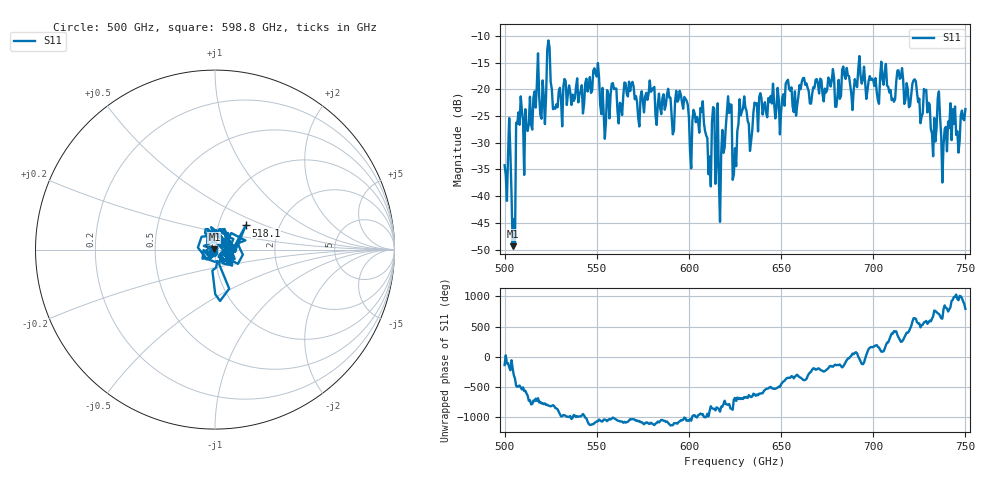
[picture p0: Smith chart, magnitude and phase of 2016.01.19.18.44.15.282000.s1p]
!Created with skrf (http://scikit-rf.org).
# GHz S RI R 50.0
!freq ReS11 ImS11
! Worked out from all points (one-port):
!   401 points, 500 GHz to 750 GHz, reference 50 ohm
!   lowest |S11| = -49.4 dB at 504.4 GHz (marker M1), VSWR 1.01, Z = 49.7 + j0.0811 ohm
!   |S11| at or under -10 dB: start of sweep to end of sweep
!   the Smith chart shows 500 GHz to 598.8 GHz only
!   S11 on the Smith chart (normalised r, x): 500 GHz: 0.97, -0.03; 518.1 GHz: 1.35, +0.38; 598.8 GHz: 1.15, +0.08
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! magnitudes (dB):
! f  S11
! 500 GHz  -34.2
! 502.5 GHz  -25.4
! 504.4 GHz  -49.4
! 507.5 GHz  -24.3
! 511.9 GHz  -27.0
! 518.1 GHz  -13.2
! 520.6 GHz  -18.3
! 524.4 GHz  -12.1
! 527.5 GHz  -23.6
! 531.2 GHz  -26.9
! 549.4 GHz  -17.1
! 553.8 GHz  -24.5
! 562.5 GHz  -22.5
! 593.8 GHz  -22.3
! 598.8 GHz  -22.1
! 607.5 GHz  -22.2
! 610.6 GHz  -35.9
! 614.4 GHz  -37.7
! 615.6 GHz  -22.6
! 621.9 GHz  -24.4
! 625 GHz  -31.0
! 628.8 GHz  -24.1
! 633.1 GHz  -31.5
! 656.2 GHz  -23.2
! 687.5 GHz  -19.2
! 718.8 GHz  -20.0
! 738.8 GHz  -27.5
! 750 GHz  -23.7
